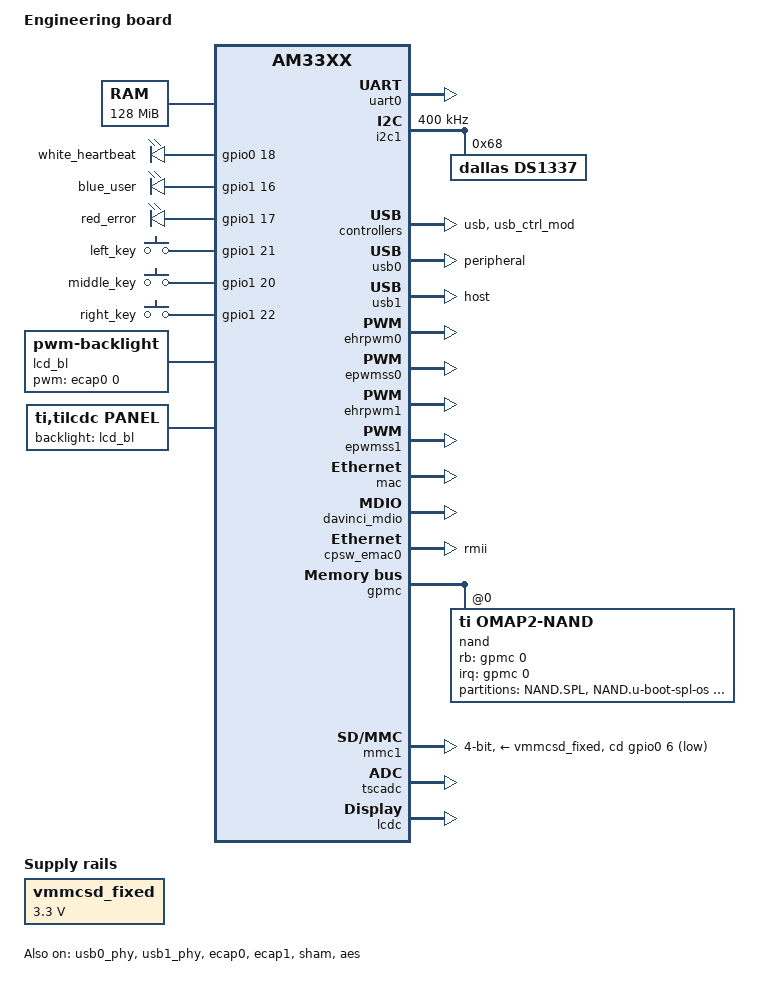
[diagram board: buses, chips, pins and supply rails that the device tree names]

/*
 * Author: Arvin Sun
 * E-mail: sunarvin@hotmail.com

 * This program is for an engineering board and has no warranty.
 * You use at your own risk. The author is not responsible for any loss or damage the program involved.

 * This program is modified based on Texas Instruments's AM335x .dts file.
 * It is free software; you can redistribute it and/or modify
 * it under the terms of the GNU General Public License version 2 as
 * published by the Free Software Foundation.
 */

/dts-v1/;

#include "am33xx.dtsi"
#include <dt-bindings/pwm/pwm.h>
#include <dt-bindings/interrupt-controller/irq.h>

/ {
    model = "Engineering board";
    compatible = "ti,am33xx";

    memory@80000000 {
        device_type = "memory";
        reg = <0x80000000 0x08000000>; /* 128 MB */
    };

    chosen {
        stdout-path = &uart0;
    };

    vmmcsd_fixed: fixedregulator1 {
        compatible = "regulator-fixed";
        regulator-name = "vmmcsd_fixed";
        regulator-min-microvolt = <3300000>;
        regulator-max-microvolt = <3300000>;
        regulator-boot-on;
    };

    leds {
        pinctrl-names = "default";
        pinctrl-0 = <&user_leds_s0>;

        compatible = "gpio-leds";

        led0 {
            label = "white_heartbeat";
            gpios = <&gpio0 18 GPIO_ACTIVE_HIGH>;
            linux,default-trigger = "heartbeat";
            default-state = "off";
        };

        led1 {
            label = "blue_user";
            gpios = <&gpio1 16 GPIO_ACTIVE_HIGH>;
            default-state = "off";
        };

        led2 {
            label = "red_error";
            gpios = <&gpio1 17 GPIO_ACTIVE_HIGH>;
            linux,default-trigger = "mmc0";
            default-state = "off";
        };
    };

    gpio_buttons: gpio_buttons {
        compatible = "gpio-keys";
        #address-cells = <1>;
        #size-cells = <0>;

        switch1 {
            label = "left_key";
            linux,code = <0x100>;
            gpios = <&gpio1 21 GPIO_ACTIVE_HIGH>;
        };

        switch2 {
            label = "middle_key";
            linux,code = <0x101>;
            gpios = <&gpio1 20 GPIO_ACTIVE_HIGH>;
        };

        switch3 {
            label = "right_key";
            linux,code = <0x102>;
            gpios = <&gpio1 22 GPIO_ACTIVE_HIGH>;
        };
    };

    lcd_bl: backlight {
        compatible = "pwm-backlight";
        pwms = <&ecap0 0 50000 PWM_POLARITY_INVERTED>;
        /*
        brightness-levels = <0 58 61 66 75 90 125 170 255>;
        default-brightness-level = <7>;
        */
        brightness-levels = <0 32 64 96 128 160 192 224 255>;
        default-brightness-level = <1>;
    };

    panel {
        compatible = "ti,tilcdc,panel";
        pinctrl-names = "default";
        pinctrl-0 = <&lcd_pins_default>;
        backlight = <&lcd_bl>;
        status = "okay";
        panel-info {
            ac-bias         = <255>;
            ac-bias-intrpt  = <0>;
            dma-burst-sz    = <16>;
            bpp             = <32>;
            fdd             = <0x80>;
            sync-edge       = <0>;
            sync-ctrl       = <1>;
            raster-order    = <0>;
            fifo-th         = <0>;
        };

        display-timings {
            native-mode = <&timing0>;
            timing0: 480x272 {
                clock-frequency = <3000000>;

                hactive         = <480>;
                vactive         = <272>;

                hback-porch     = <43>;
                hfront-porch    = <2>;
                hsync-len       = <2>;
                hsync-active    = <1>;

                vback-porch     = <12>;
                vfront-porch    = <2>;
                vsync-len       = <2>;
                vsync-active    = <1>;
            };
        };
    };
};


&am33xx_pinmux {
    pinctrl-names = "default";
    pinctrl-0 = <&gpio_keys_s0>;

    nandflash_pins: pinmux_nandflash {
        pinctrl-single,pins = <
            AM33XX_IOPAD(0x800, PIN_INPUT_PULLUP | MUX_MODE0)	/* gpmc_ad0.gpmc_ad0 */
            AM33XX_IOPAD(0x804, PIN_INPUT_PULLUP | MUX_MODE0)	/* gpmc_ad1.gpmc_ad1 */
            AM33XX_IOPAD(0x808, PIN_INPUT_PULLUP | MUX_MODE0)	/* gpmc_ad2.gpmc_ad2 */
            AM33XX_IOPAD(0x80c, PIN_INPUT_PULLUP | MUX_MODE0)	/* gpmc_ad3.gpmc_ad3 */
            AM33XX_IOPAD(0x810, PIN_INPUT_PULLUP | MUX_MODE0)	/* gpmc_ad4.gpmc_ad4 */
            AM33XX_IOPAD(0x814, PIN_INPUT_PULLUP | MUX_MODE0)	/* gpmc_ad5.gpmc_ad5 */
            AM33XX_IOPAD(0x818, PIN_INPUT_PULLUP | MUX_MODE0)	/* gpmc_ad6.gpmc_ad6 */
            AM33XX_IOPAD(0x81c, PIN_INPUT_PULLUP | MUX_MODE0)	/* gpmc_ad7.gpmc_ad7 */
            AM33XX_IOPAD(0x870, PIN_INPUT_PULLUP | MUX_MODE0)	/* gpmc_wait0.gpmc_wait0 */
            AM33XX_IOPAD(0x87c, PIN_OUTPUT | MUX_MODE0)		/* gpmc_csn0.gpmc_csn0 */
            AM33XX_IOPAD(0x890, PIN_OUTPUT | MUX_MODE0)		/* gpmc_advn_ale.gpmc_advn_ale */
            AM33XX_IOPAD(0x894, PIN_OUTPUT | MUX_MODE0)		/* gpmc_oen_ren.gpmc_oen_ren */
            AM33XX_IOPAD(0x898, PIN_OUTPUT | MUX_MODE0)		/* gpmc_wen.gpmc_wen */
            AM33XX_IOPAD(0x89c, PIN_OUTPUT | MUX_MODE0)		/* gpmc_be0n_cle.gpmc_be0n_cle */
        >;
    };

    lcd_pins_default: lcd_pins_default {
        pinctrl-single,pins = <
            AM33XX_IOPAD(0x8a0, PIN_OUTPUT | MUX_MODE0) /* lcd_data0.lcd_data0 */
            AM33XX_IOPAD(0x8a4, PIN_OUTPUT | MUX_MODE0) /* lcd_data1.lcd_data1 */
            AM33XX_IOPAD(0x8a8, PIN_OUTPUT | MUX_MODE0) /* lcd_data2.lcd_data2 */
            AM33XX_IOPAD(0x8ac, PIN_OUTPUT | MUX_MODE0) /* lcd_data3.lcd_data3 */
            AM33XX_IOPAD(0x8b0, PIN_OUTPUT | MUX_MODE0) /* lcd_data4.lcd_data4 */
            AM33XX_IOPAD(0x8b4, PIN_OUTPUT | MUX_MODE0) /* lcd_data5.lcd_data5 */
            AM33XX_IOPAD(0x8b8, PIN_OUTPUT | MUX_MODE0) /* lcd_data6.lcd_data6 */
            AM33XX_IOPAD(0x8bc, PIN_OUTPUT | MUX_MODE0) /* lcd_data7.lcd_data7 */
            AM33XX_IOPAD(0x8c0, PIN_OUTPUT | MUX_MODE0) /* lcd_data8.lcd_data8 */
            AM33XX_IOPAD(0x8c4, PIN_OUTPUT | MUX_MODE0) /* lcd_data9.lcd_data9 */
            AM33XX_IOPAD(0x8c8, PIN_OUTPUT | MUX_MODE0) /* lcd_data10.lcd_data10 */
            AM33XX_IOPAD(0x8cc, PIN_OUTPUT | MUX_MODE0) /* lcd_data11.lcd_data11 */
            AM33XX_IOPAD(0x8d0, PIN_OUTPUT | MUX_MODE0) /* lcd_data12.lcd_data12 */
            AM33XX_IOPAD(0x8d4, PIN_OUTPUT | MUX_MODE0) /* lcd_data13.lcd_data13 */
            AM33XX_IOPAD(0x8d8, PIN_OUTPUT | MUX_MODE0) /* lcd_data14.lcd_data14 */
            AM33XX_IOPAD(0x8dc, PIN_OUTPUT | MUX_MODE0) /* lcd_data15.lcd_data15 */
            AM33XX_IOPAD(0x8e0, PIN_OUTPUT_PULLDOWN | MUX_MODE0)    /* lcd_vsync.lcd_vsync */
            AM33XX_IOPAD(0x8e4, PIN_OUTPUT_PULLDOWN | MUX_MODE0)    /* lcd_hsync.lcd_hsync */
            AM33XX_IOPAD(0x8e8, PIN_OUTPUT_PULLDOWN | MUX_MODE0)    /* lcd_pclk.lcd_pclk */
            AM33XX_IOPAD(0x8ec, PIN_OUTPUT_PULLDOWN | MUX_MODE0)    /* lcd_ac_bias_en.lcd_ac_bias_en */
        >;
    };

    user_leds_s0: user_leds_s0 {
        pinctrl-single,pins = <
            AM33XX_IOPAD(0x840, PIN_OUTPUT_PULLDOWN | MUX_MODE7) /* gpmc_a0.gpio1[16] */
            AM33XX_IOPAD(0x844, PIN_OUTPUT_PULLDOWN | MUX_MODE7) /* gpmc_a1.gpio1[17] */
            AM33XX_IOPAD(0xA1C, PIN_OUTPUT_PULLDOWN | MUX_MODE7) /* usb0_drvvbus.gpio0[18] */
        >;
    };

    gpio_keys_s0: gpio_keys_s0 {
        pinctrl-single,pins = <
            AM33XX_IOPAD(0x850, PIN_INPUT_PULLDOWN | MUX_MODE7) /* gpmc_a4.gpio1[20] */
            AM33XX_IOPAD(0x854, PIN_INPUT_PULLDOWN | MUX_MODE7) /* gpmc_a5.gpio1[21] */
            AM33XX_IOPAD(0x858, PIN_INPUT_PULLDOWN | MUX_MODE7) /* gpmc_a6.gpio1[22] */
        >;
    };

    i2c1_pins: pinmux_i2c1_pins {
        pinctrl-single,pins = <
            AM33XX_IOPAD(0x95c, PIN_INPUT | MUX_MODE2)          /* spi0_cs0.I2C1_SCL */
            AM33XX_IOPAD(0x958, PIN_INPUT | MUX_MODE2)          /* spi0_d1.I2C1_SDA */
        >;
    };

    uart0_pins: pinmux_uart0_pins {
        pinctrl-single,pins = <
            AM33XX_IOPAD(0x970, PIN_INPUT_PULLUP | MUX_MODE0)   /* uart0_rxd.uart0_rxd */
            AM33XX_IOPAD(0x974, PIN_OUTPUT_PULLDOWN | MUX_MODE0)/* uart0_txd.uart0_txd */
        >;
    };

    ecap0_pins: backlight_pins {
        pinctrl-single,pins = <
            AM33XX_IOPAD(0x964, PIN_OUTPUT | MUX_MODE0)
        >;
    };

    ecap1_pins: buzzer_pins {
        pinctrl-single,pins = <
            AM33XX_IOPAD(0x848, PIN_OUTPUT | MUX_MODE6)         /* gpmc_a2 */
        >;
    };

    cpsw_default: cpsw_default {
        pinctrl-single,pins = <
            AM33XX_IOPAD(0x90c, PIN_INPUT_PULLDOWN | MUX_MODE1) /* gmii1_crs.rmii1_crs_dv */
            AM33XX_IOPAD(0x910, PIN_INPUT_PULLDOWN | MUX_MODE1) /* gmii1_rxer.rmii1_rxer */
            AM33XX_IOPAD(0x914, PIN_OUTPUT | MUX_MODE1)         /* gmii1_txen.rmii1_txen */
            AM33XX_IOPAD(0x928, PIN_OUTPUT | MUX_MODE1)         /* gmii1_txd0.rmii1_txd0 */
            AM33XX_IOPAD(0x924, PIN_OUTPUT | MUX_MODE1)         /* gmii1_txd1.rmii1_txd1 */
            AM33XX_IOPAD(0x940, PIN_INPUT_PULLDOWN | MUX_MODE1) /* gmii1_rxd0.rmii1_rxd0 */
            AM33XX_IOPAD(0x93c, PIN_INPUT_PULLDOWN | MUX_MODE1) /* gmii1_rxd1.rmii1_rxd1 */
            AM33XX_IOPAD(0x944, PIN_INPUT_PULLDOWN | MUX_MODE0) /* rmii1_refclk.rmii1_refclk */
        >;
    };

    cpsw_sleep: cpsw_sleep {
        pinctrl-single,pins = <
            AM33XX_IOPAD(0x90c, PIN_INPUT_PULLDOWN | MUX_MODE7) /* gmii1_crs.rmii1_crs_dv */
            AM33XX_IOPAD(0x910, PIN_INPUT_PULLDOWN | MUX_MODE7) /* gmii1_rxer.rmii1_rxer */
            AM33XX_IOPAD(0x914, PIN_INPUT_PULLDOWN | MUX_MODE7) /* gmii1_txen.rmii1_txen */
            AM33XX_IOPAD(0x928, PIN_INPUT_PULLDOWN | MUX_MODE7) /* gmii1_txd0.rmii1_txd0 */
            AM33XX_IOPAD(0x924, PIN_INPUT_PULLDOWN | MUX_MODE7) /* gmii1_txd1.rmii1_txd1 */
            AM33XX_IOPAD(0x940, PIN_INPUT_PULLDOWN | MUX_MODE7) /* gmii1_rxd0.rmii1_rxd0 */
            AM33XX_IOPAD(0x93c, PIN_INPUT_PULLDOWN | MUX_MODE7) /* gmii1_rxd1.rmii1_rxd1 */
            AM33XX_IOPAD(0x944, PIN_INPUT_PULLDOWN | MUX_MODE7) /* rmii1_refclk.rmii1_refclk */
        >;
    };

    davinci_mdio_default: davinci_mdio_default {
        pinctrl-single,pins = <
            /* MDIO */
            AM33XX_IOPAD(0x948, PIN_INPUT_PULLUP | SLEWCTRL_FAST | MUX_MODE0)   /* mdio_data.mdio_data */
            AM33XX_IOPAD(0x94c, PIN_INPUT_PULLUP | MUX_MODE0)                   /* mdio_clk.mdio_clk */
        >;
    };

    davinci_mdio_sleep: davinci_mdio_sleep {
        pinctrl-single,pins = <
            /* MDIO reset value */
            AM33XX_IOPAD(0x948, PIN_INPUT_PULLDOWN | MUX_MODE7)
            AM33XX_IOPAD(0x94c, PIN_INPUT_PULLDOWN | MUX_MODE7)
        >;
    };

    /* TF Card */
    mmc1_pins: pinmux_mmc1_pins {
        pinctrl-single,pins = <
            AM33XX_IOPAD(0x960, PIN_INPUT | MUX_MODE5)          /* spio0_cs1.sdcd_mux0 */
            AM33XX_IOPAD(0x8fc, PIN_INPUT_PULLUP | MUX_MODE0)   /* mmc0_dat0.mmc0_dat0 */
            AM33XX_IOPAD(0x8f8, PIN_INPUT_PULLUP | MUX_MODE0)   /* mmc0_dat1.mmc0_dat1 */
            AM33XX_IOPAD(0x8f4, PIN_INPUT_PULLUP | MUX_MODE0)   /* mmc0_dat2.mmc0_dat2 */
            AM33XX_IOPAD(0x8f0, PIN_INPUT_PULLUP | MUX_MODE0)   /* mmc0_dat3.mmc0_dat3 */
            AM33XX_IOPAD(0x904, PIN_INPUT_PULLUP | MUX_MODE0)   /* mmc0_cmd.mmc0_cmd */
            AM33XX_IOPAD(0x900, PIN_INPUT_PULLUP | MUX_MODE0)   /* mmc0_clk.mmc0_clk */
            /* It is disabled because TF is always writable as a boot device */
/*          AM33XX_IOPAD(0x9a0, PIN_INPUT | MUX_MODE4)         mcasp0_aclkr.mmc0_sdwp */
        >;
    };

};

&uart0 {
    pinctrl-names = "default";
    pinctrl-0 = <&uart0_pins>;

    status = "okay";
};

/* disable rtc on-chip */
&rtc {
    status = "disabled";
};

&i2c1 {
    pinctrl-names = "default";
    pinctrl-0 = <&i2c1_pins>;

    status = "okay";
    clock-frequency = <400000>;

    ds1337: ds1337@68 {
        compatible = "dallas,ds1337";
        reg = <0x68>;
    };
};

/* USB */
&usb {
    status = "okay";
};

&usb_ctrl_mod {
    status = "okay";
};

&usb0_phy {
    status = "okay";
    #phy-cells = <0>;
};

&usb1_phy {
    status = "okay";
    #phy-cells = <0>;
};

&usb0 {
    status = "okay";
    /*
    dr_mode = "otg";
    */
    dr_mode = "peripheral";
};

&usb1 {
    status = "okay";
    dr_mode = "host";
};

&cppi41dma {
    status = "okay";
};
/* USB END */

/* PWM0 for backlight of LCD */
&ecap0 {
    status = "okay";
    pinctrl-names = "default";
    pinctrl-0 = <&ecap0_pins>;
};

&ehrpwm0 {
    status = "okay";
};

&epwmss0 {
    status = "okay";
};
/* PWM0 END */

/* PWM1 for buzzer */
&ecap1 {
    status = "okay";
    pinctrl-names = "default";
    pinctrl-0 = <&ecap1_pins>;
};

&ehrpwm1 {
    status = "okay";
};

&epwmss1 {
    status = "okay";
};
/* PWM1 END */

&wkup_m3_ipc {
    status = "disabled";
};

/* ETH 100M/RMII with external clock source */
&mac {
    slaves = <1>;
    pinctrl-names = "default", "sleep";
    pinctrl-0 = <&cpsw_default>;
    pinctrl-1 = <&cpsw_sleep>;
    status = "okay";
};

&davinci_mdio {
    pinctrl-names = "default", "sleep";
    pinctrl-0 = <&davinci_mdio_default>;
    pinctrl-1 = <&davinci_mdio_sleep>;
    status = "okay";
};

&cpsw_emac0 {
    phy_id = <&davinci_mdio>, <0>;
    phy-mode = "rmii";
};

&phy_sel {
    /* rmii_io_clk_en, port1 on RMII mode */
    reg = < 0x44e10650 0x41 >;

    /* RMII mode uses an external oscillator as the clock source */
    rmii-clock-ext;
};
/* ETH END */

/* GPMC for NANDFLASH */
&gpmc {
    status = "okay";
    pinctrl-names = "default";
    pinctrl-0 = <&nandflash_pins>;

    ranges = <0 0 0x08000000 0x1000000>;    /* CS0: 16MB for NAND */

    nand@0,0 {
        compatible = "ti,omap2-nand";
        reg = <0 0 4>; /* CS0, offset 0, IO size 4 */
        interrupt-parent = <&gpmc>;
        interrupts = <0 IRQ_TYPE_NONE>, /* fifoevent */
                 <1 IRQ_TYPE_NONE>; /* termcount */
        rb-gpios = <&gpmc 0 GPIO_ACTIVE_HIGH>; /* gpmc_wait0 */
        nand-bus-width = <8>;
        ti,nand-ecc-opt = "bch8";
        gpmc,device-width = <1>;
        gpmc,sync-clk-ps = <0>;
        gpmc,cs-on-ns = <0>;
        gpmc,cs-rd-off-ns = <44>;
        gpmc,cs-wr-off-ns = <44>;
        gpmc,adv-on-ns = <6>;
        gpmc,adv-rd-off-ns = <34>;
        gpmc,adv-wr-off-ns = <44>;
        gpmc,we-on-ns = <0>;
        gpmc,we-off-ns = <40>;
        gpmc,oe-on-ns = <0>;
        gpmc,oe-off-ns = <54>;
        gpmc,access-ns = <64>;
        gpmc,rd-cycle-ns = <82>;
        gpmc,wr-cycle-ns = <82>;
        gpmc,bus-turnaround-ns = <0>;
        gpmc,cycle2cycle-delay-ns = <0>;
        gpmc,clk-activation-ns = <0>;
        gpmc,wr-access-ns = <40>;
        gpmc,wr-data-mux-bus-ns = <0>;
        /* MTD partition table */
        /* All SPL-* partitions are sized to minimal length
         * which can be independently programmable. For
         * NAND flash this is equal to size of erase-block */
        #address-cells = <1>;
        #size-cells = <1>;
        partition@0 {
            label = "NAND.SPL";
            reg = <0x00000000 0x000020000>;
        };
        partition@1 {
            label = "NAND.u-boot-spl-os";
            reg = <0x00020000 0x00040000>;
        };
        partition@2 {
            label = "NAND.u-boot";
            reg = <0x00060000 0x00100000>;
        };
        partition@3 {
            label = "NAND.u-boot-env";
            reg = <0x00160000 0x00020000>;
        };
        partition@4 {
            label = "NAND.kernel";
            reg = <0x00180000 0x00800000>;
        };
        partition@5 {
            label = "NAND.file-system";
            reg = <0x00200000 0x0FD00000>;
        };

    };
};
/* GPMC/NANDFLASH END*/

/* MMC1 for TF */
&mmc1 {
    status = "okay";
    vmmc-supply = <&vmmcsd_fixed>;
    bus-width = <0x4>;
    pinctrl-names = "default";
    pinctrl-0 = <&mmc1_pins>;
    cd-gpios = <&gpio0 6 GPIO_ACTIVE_LOW>;
};

/* Keep TF card inserted status when reset */
&gpio0 {
    ti,no-reset-on-init;
};
/* MMC1 END */

/* TSC for Touch Screen */
&tscadc {
    status = "okay";
    tsc {
        ti,wires = <4>;
        ti,x-plate-resistance = <200>;
        ti,coordinate-readouts = <5>;
        ti,wire-config = <0x00 0x11 0x22 0x33>;
    };
};
/* TSC END */

/* LCDC */
&lcdc {
    status = "okay";

    /* according to the chip manual:
       for 24bpp
    blue-and-red-wiring = "straight";

       for 16bpp, the Red and Blue signal/pins should be swapped.
    blue-and-red-wiring = "crossed";
    */

    /* real configuration for
         * 16bpp for the engineering board
         * TI SDK 06.03.00.106 
         * Kernel 4.19 
    */
    blue-and-red-wiring = "straight";
};
/* LCDC END */

&sgx {
    /*
    status = "okay";
    */
    status = "disabled";
};

&sham {
    status = "okay";
};

&aes {
    status = "okay";
};

